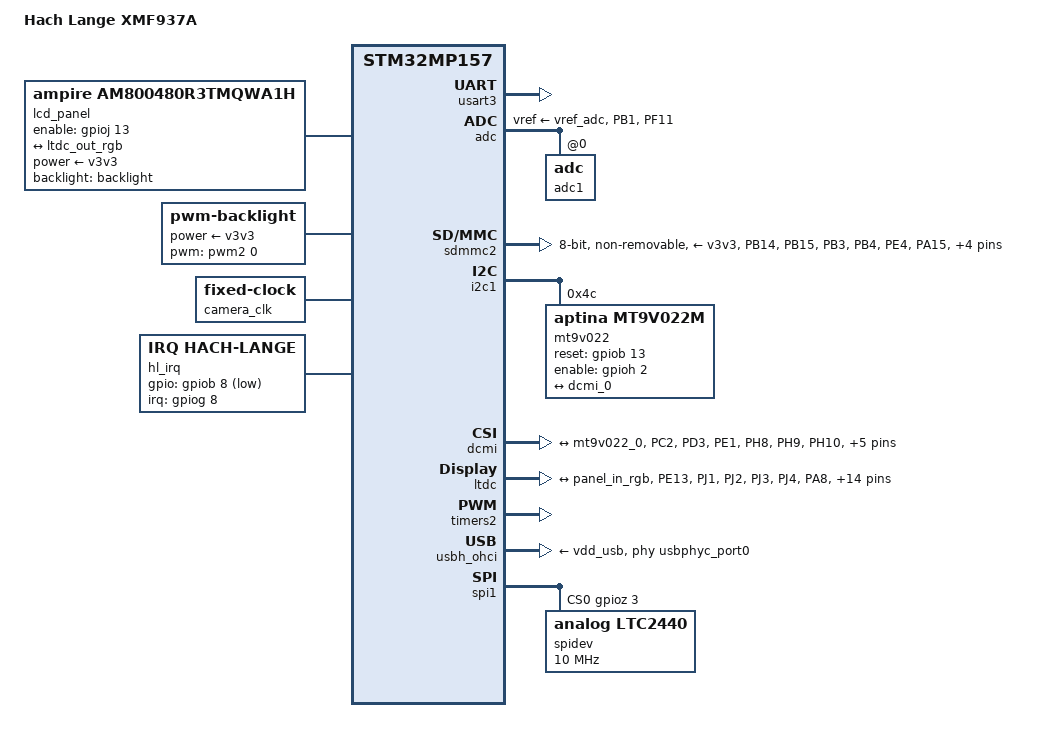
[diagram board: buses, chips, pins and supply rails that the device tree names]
// SPDX-License-Identifier: (GPL-2.0+ OR BSD-3-Clause)
/*
 * Copyright (C) emtrion GmbH 2021 - All Rights Reserved
 */

/dts-v1/;

#include "stm32mp157c-emstamp-argon.dtsi"

/ {
	model = "Hach Lange XMF937A";
	compatible = "Hach Lange,stm32mp157c-XMF937A", "st,stm32mp157";
	
	panel_rgb: panel-rgb {
		compatible = "ampire,am800480r3tmqwa1h";
		status = "okay";
		power-supply = <&v3v3>;
		label = "lcd_panel";
		backlight = <&backlight>;
		enable-gpios = <&gpioj 13 GPIO_ACTIVE_HIGH>;
		port {
			panel_in_rgb: endpoint {
				remote-endpoint = <&ltdc_out_rgb>;			
			};
		};
	};

	backlight: backlight {
		compatible = "pwm-backlight";
		pwms = <&pwm2 0 500000 0>;
		pwm-names = "backlight";
		power-supply = <&v3v3>;
		brightness-levels = <0 255>;
		num-interpolated-steps = <255>;
		default-brightness-level = <250>;

		status = "okay";
	};

	/* On-board camera clock. */
	camera_clk: camera_clk {
		compatible = "fixed-clock";
		#clock-cells = <0>;
		clock-frequency = <24000000>;
	};
	
	hl_irq:	hl_irq {
		compatible = "IRQ,Hach-Lange"; 
		gpios = <&gpiob 8 GPIO_ACTIVE_LOW>;
		interrupt-parent = <&gpiog>;
		interrupts = <8 IRQ_TYPE_EDGE_FALLING>;
		interrupt-names = "hl-irq";
		status = "okay";		
	};

};

&usart2 {
	pinctrl-names = "default", "sleep", "idle";
	pinctrl-0 = <&usart2_pins_mx>;
	pinctrl-1 = <&usart2_sleep_pins_mx>;
	pinctrl-2 = <&usart2_idle_pins_mx>;
	status = "disabled";
};

&usart3 {
	status = "okay";
};

&pinctrl {

	pwm2_pins_b: pwm2-1 {
                pins {
                        pinmux = <STM32_PINMUX('A', 5, AF1)>; /* TIM2_CH1 */
                        bias-pull-down;
                        drive-push-pull;
                        slew-rate = <0>;
                };
        };

        pwm2_sleep_pins_b: pwm2-sleep-1 {
                pins {
                        pinmux = <STM32_PINMUX('A', 5, GPIO)>; /* TIM2_CH1 */
			 output-high;
                };
        };

	
       ltdc_pins_emtrion: ltdc-c-0 {
               pins {
                       //pinmux = <STM32_PINMUX('I', 12, AF14)>, /* LCD_HSYNC */
                       //         <STM32_PINMUX('I', 13, AF14)>, /* LCD_VSYNC */
                       pinmux = <STM32_PINMUX('E', 13, AF14)>, /* LCD_DE */
                                <STM32_PINMUX('J',  1, AF14)>, /* LCD_R2 */
                                <STM32_PINMUX('J',  2, AF14)>, /* LCD_R3 */
                                <STM32_PINMUX('J',  3, AF14)>, /* LCD_R4 */
                                <STM32_PINMUX('J',  4, AF14)>, /* LCD_R5 */
                                <STM32_PINMUX('A',  8, AF14)>, /* LCD_R6 */
                                <STM32_PINMUX('J',  6, AF14)>, /* LCD_R7 */
                                <STM32_PINMUX('H', 13, AF14)>,  /* LCD_G2 */
                                <STM32_PINMUX('J', 12, AF9)>,  /* LCD_G3 */
                                <STM32_PINMUX('H', 15, AF14)>, /* LCD_G4 */
                                <STM32_PINMUX('H',  4, AF9)>,  /* LCD_G5 */
                                <STM32_PINMUX('I',  1, AF14)>, /* LCD_G6 */
                                <STM32_PINMUX('I',  2, AF14)>, /* LCD_G7 */
                                <STM32_PINMUX('J', 14, AF14)>, /* LCD_B2 */
                                <STM32_PINMUX('D', 10, AF14)>, /* LCD_B3 */
                                <STM32_PINMUX('K',  3, AF14)>, /* LCD_B4 */
                                <STM32_PINMUX('K',  4, AF14)>, /* LCD_B5 */
                                <STM32_PINMUX('K',  5, AF14)>, /* LCD_B6 */
                                <STM32_PINMUX('K',  6, AF14)>; /* LCD_B7 */
                       bias-disable;
                       drive-push-pull;
                       slew-rate = <1>;
               };
               pins2 {
                       pinmux = <STM32_PINMUX('E', 14, AF14)>; /* LTDC_CLK */
                       bias-disable;
                       drive-push-pull;
                       slew-rate = <1>;
               };

	};
	
       ltdc_pins_sleep_emtrion: ltdc-c-1 {
               pins {
                       pinmux = <STM32_PINMUX('E', 14, ANALOG)>, /* LTDC_CLK */
                                <STM32_PINMUX('I', 12, ANALOG)>, /* LCD_HSYNC */
                                <STM32_PINMUX('I', 13, ANALOG)>, /* LCD_VSYNC */
                                <STM32_PINMUX('E', 13, ANALOG)>, /* LCD_DE */
                                 <STM32_PINMUX('J',  1, ANALOG)>, /* LCD_R2 */
                                 <STM32_PINMUX('J',  2, ANALOG)>, /* LCD_R3 */
                                 <STM32_PINMUX('J',  3, ANALOG)>, /* LCD_R4 */
                                 <STM32_PINMUX('J',  4, ANALOG)>, /* LCD_R5 */
                                 <STM32_PINMUX('A',  8, ANALOG)>, /* LCD_R6 */
                                 <STM32_PINMUX('J',  6, ANALOG)>, /* LCD_R7 */
                                 <STM32_PINMUX('H', 13, ANALOG)>, /* LCD_G2 */
                                 <STM32_PINMUX('J', 12, ANALOG)>, /* LCD_G3 */
                                 <STM32_PINMUX('H', 15, ANALOG)>, /* LCD_G4 */
                                 <STM32_PINMUX('H',  4, ANALOG)>, /* LCD_G5 */
                                 <STM32_PINMUX('I',  1, ANALOG)>, /* LCD_G6 */
                                 <STM32_PINMUX('I',  2, ANALOG)>, /* LCD_G7 */
                                 <STM32_PINMUX('J', 14, ANALOG)>, /* LCD_B2 */
                                 <STM32_PINMUX('D', 10, ANALOG)>, /* LCD_B3 */
                                 <STM32_PINMUX('K',  3, ANALOG)>, /* LCD_B4 */
                                 <STM32_PINMUX('K',  4, ANALOG)>, /* LCD_B5 */
                                 <STM32_PINMUX('K',  5, ANALOG)>, /* LCD_B6 */
                                 <STM32_PINMUX('K',  6, ANALOG)>; /* LCD_B7 */
               };
       };

	dcmi_pins_mx: dcmi_mx-0 {
		pins {
			pinmux = <STM32_PINMUX('C', 2, AF13)>, /* DCMI_PIXCLK */
					 <STM32_PINMUX('D', 3, AF13)>, /* DCMI_D5 */
					 <STM32_PINMUX('E', 1, AF13)>, /* DCMI_D3 */
					 <STM32_PINMUX('H', 8, AF13)>, /* DCMI_HSYNC */
					 <STM32_PINMUX('H', 9, AF13)>, /* DCMI_D0 */
					 <STM32_PINMUX('H', 10, AF13)>, /* DCMI_D1 */
					 <STM32_PINMUX('H', 11, AF13)>, /* DCMI_D2 */
					 <STM32_PINMUX('H', 14, AF13)>, /* DCMI_D4 */
					 <STM32_PINMUX('I', 5, AF13)>, /* DCMI_VSYNC */
					 <STM32_PINMUX('I', 6, AF13)>, /* DCMI_D6 */
					 <STM32_PINMUX('I', 7, AF13)>; /* DCMI_D7 */
			bias-disable;
		};
	};

	dcmi_sleep_pins_mx: dcmi_sleep_mx-0 {
		pins {
			pinmux = <STM32_PINMUX('C', 2, ANALOG)>, /* DCMI_PIXCLK */
					 <STM32_PINMUX('D', 3, ANALOG)>, /* DCMI_D5 */
					 <STM32_PINMUX('E', 1, ANALOG)>, /* DCMI_D3 */
					 <STM32_PINMUX('H', 8, ANALOG)>, /* DCMI_HSYNC */
					 <STM32_PINMUX('H', 9, ANALOG)>, /* DCMI_D0 */
					 <STM32_PINMUX('H', 10, ANALOG)>, /* DCMI_D1 */
					 <STM32_PINMUX('H', 11, ANALOG)>, /* DCMI_D2 */
					 <STM32_PINMUX('H', 14, ANALOG)>, /* DCMI_D4 */
					 <STM32_PINMUX('I', 5, ANALOG)>, /* DCMI_VSYNC */
					 <STM32_PINMUX('I', 6, ANALOG)>, /* DCMI_D6 */
					 <STM32_PINMUX('I', 7, ANALOG)>; /* DCMI_D7 */
		};
	};

	usart2_pins_mx: usart2_mx-0 {
		pins1 {
			pinmux = <STM32_PINMUX('D', 5, AF7)>; /* USART2_TX */
			bias-disable;
			drive-push-pull;
			slew-rate = <0>;
		};
		pins2 {
			pinmux = <STM32_PINMUX('F', 4, AF7)>; /* USART2_RX */
			bias-disable;
		};
	};

	usart2_idle_pins_mx: usart2_idle_mx-0 {
		pins1 {
			pinmux = <STM32_PINMUX('D', 5, ANALOG)>; /* USART2_TX */
		};
		pins2 {
			pinmux = <STM32_PINMUX('F', 4, AF7)>; /* USART2_RX */
			bias-disable;
		};
	};

	usart2_sleep_pins_mx: usart2_sleep_mx-0 {
		pins {
			pinmux = <STM32_PINMUX('D', 5, ANALOG)>, /* USART2_TX */
					 <STM32_PINMUX('F', 4, ANALOG)>; /* USART2_RX */
		};
	};
	adc1_input_pins: adc1_in {
		pins{
			pinmux = <STM32_PINMUX('B', 1, ANALOG)>,
				 <STM32_PINMUX('F', 11, ANALOG)>;
		};
	};

	sdmmc2_b8_pins: sdmmc2-b8 {
		pins1 {
			pinmux = <STM32_PINMUX('B', 14, AF9)>, /* SDMMC2_D0 */
				 <STM32_PINMUX('B', 15, AF9)>, /* SDMMC2_D1 */
				 <STM32_PINMUX('B', 3, AF9)>, /* SDMMC2_D2 */
				 <STM32_PINMUX('B', 4, AF9)>, /* SDMMC2_D3 */
                                 <STM32_PINMUX('E', 4, AF9)>, /* SDMMC2_D4 */
                                 <STM32_PINMUX('A', 15, AF9)>, /* SDMMC2_D5 */
                                 <STM32_PINMUX('C', 6, AF10)>, /* SDMMC2_D6 */
                                 <STM32_PINMUX('C', 7, AF10)>, /* SDMMC2_D7 */
				 <STM32_PINMUX('G', 6, AF10)>; /* SDMMC2_CMD */
			slew-rate = <1>;
			drive-push-pull;
			bias-disable;
		};
		pins2 {
			pinmux = <STM32_PINMUX('E', 3, AF9)>; /* SDMMC2_CK */
			slew-rate = <2>;
			drive-push-pull;
			bias-disable;
		};
	};

	sdmmc2_b8_od_pins: sdmmc2-b8-od {
		pins1 {
			pinmux = <STM32_PINMUX('B', 14, AF9)>, /* SDMMC2_D0 */
				 <STM32_PINMUX('B', 15, AF9)>, /* SDMMC2_D1 */
				 <STM32_PINMUX('B', 3, AF9)>, /* SDMMC2_D2 */
				 <STM32_PINMUX('B', 4, AF9)>, /* SDMMC2_D3 */
                                 <STM32_PINMUX('E', 4, AF9)>, /* SDMMC2_D4 */
                                 <STM32_PINMUX('A', 15, AF9)>, /* SDMMC2_D5 */
                                 <STM32_PINMUX('C', 6, AF10)>, /* SDMMC2_D6 */
                                 <STM32_PINMUX('C', 7, AF10)>; /* SDMMC2_D7 */
			slew-rate = <1>;
			drive-push-pull;
			bias-disable;
		};
		pins2 {
			pinmux = <STM32_PINMUX('E', 3, AF9)>; /* SDMMC2_CK */
			slew-rate = <2>;
			drive-push-pull;
			bias-disable;
		};
		pins3 {
			pinmux = <STM32_PINMUX('G', 6, AF10)>; /* SDMMC2_CMD */
			slew-rate = <1>;
			drive-open-drain;
			bias-disable;
		};
	};

    sdmmc2_b8_sleep_pins: sdmmc2-b8-sleep-0 {
		pins {
			pinmux = <STM32_PINMUX('B', 14, ANALOG)>, /* SDMMC2_D0 */
				 <STM32_PINMUX('B', 15, ANALOG)>, /* SDMMC2_D1 */
				 <STM32_PINMUX('B', 3, ANALOG)>, /* SDMMC2_D2 */
				 <STM32_PINMUX('B', 4, ANALOG)>, /* SDMMC2_D3 */
                 <STM32_PINMUX('E', 4, ANALOG)>, /* SDMMC2_D4 */
                 <STM32_PINMUX('A', 15, ANALOG)>, /* SDMMC2_D5 */
                 <STM32_PINMUX('C', 6, ANALOG)>, /* SDMMC2_D6 */
                 <STM32_PINMUX('C', 7, ANALOG)>, /* SDMMC2_D7 */
				 <STM32_PINMUX('E', 3, ANALOG)>, /* SDMMC2_CK */
				 <STM32_PINMUX('G', 6, ANALOG)>; /* SDMMC2_CMD */
		};
	};
};

&adc {
	pinctrl-names = "default";
	pinctrl-0 = <&adc1_input_pins>;
	vdda-supply = <&vdda>;
	vref-supply = <&vref_adc>;
	status = "okay";
	adc1: adc@0 {
		st,adc-channels = <0>, <1>, <2>, <5>;
		st,min-sample-time-nsecs = <10000>;
		status = "okay";
	};
	adc2: adc@100 {
		status = "disabled";
	};
};

&sdmmc2 {
	arm,primecell-periphid = <0x00253180>;
	//arm,primecell-periphid = <0x10153180>;
	pinctrl-names = "default", "opendrain", "sleep";
	pinctrl-0 = <&sdmmc2_b8_pins>;
	pinctrl-1 = <&sdmmc2_b8_od_pins>;
	pinctrl-2 = <&sdmmc2_b8_sleep_pins>;
	non-removable;
	st,neg-edge;
	bus-width = <8>;
	vmmc-supply = <&v3v3>;
	#address-cells = <1>;
	#size-cells = <0>;
	keep-power-in-suspend;
	mmc-ddr-3_3v;
	status = "okay";
};

&sdmmc1 {
	status = "disabled";
};

&i2c1 {

	status = "okay";

	mt9v022@4c {
		compatible = "aptina,mt9v022m";
		reg = <0x4c>;
		reset-gpios = <&gpiob 13 GPIO_ACTIVE_HIGH>;
		enable-gpios = <&gpioh 2 GPIO_ACTIVE_HIGH>;
		clocks = <&camera_clk>;
		status = "okay";

		port {
			mt9v022_0: endpoint {
				remote-endpoint = <&dcmi_0>;
				bus-width = <8>;
                       	bus-type = <5>;
                       	hsync-active = <0>;
                       	vsync-active = <0>;
                       	pclk-sample = <0>;
			};
		};
	};
};

&dcmi {
	status = "okay";
	pinctrl-names = "default", "sleep";
	pinctrl-0 = <&dcmi_pins_mx>;
	pinctrl-1 = <&dcmi_sleep_pins_mx>;

	port {
		dcmi_0: endpoint {
			remote-endpoint = <&mt9v022_0>;
			bus-type = <5>;
			bus-width = <8>;
       		hsync-active = <0>;
       		vsync-active = <0>;
       		pclk-sample = <1>;
		};
	};
};


&dsi {
	status = "disabled";
};

&ltdc {
	pinctrl-names = "default", "sleep";
	pinctrl-0 = <&ltdc_pins_emtrion>;
	pinctrl-1 = <&ltdc_pins_sleep_emtrion>;
	status = "okay";

	port {
		#address-cells = <1>;
		#size-cells = <0>;

		ltdc_out_rgb: endpoint@0 {
			reg = <0>;
			remote-endpoint = <&panel_in_rgb>;
		};
	};
};

&timers2 {
	/delete-property/dmas;
	/delete-property/dma-names;
	status = "okay";
	pwm2: pwm {
		pinctrl-0 = <&pwm2_pins_b>;
		pinctrl-1 = <&pwm2_sleep_pins_b>;
		pinctrl-names = "default", "sleep";
		status = "okay";
	};
};

&rtc {
//	st,lsco = <RTC_OUT2_RMP>;
//	pinctrl-0 = <&rtc_out2_rmp_pins_a>;
//	pinctrl-names = "default";
};

/* enable for usb 1.1 low speed */
&usbh_ohci {
	phys = <&usbphyc_port0>;
	vbus-supply = <&vdd_usb>;
	phy-names = "usb";
	status = "okay";
};

&spi1 {
        pinctrl-names = "default", "sleep";
        pinctrl-0 = <&spi1_pins_a>;
        pinctrl-1 = <&spi1_sleep_pins_a>;
        cs-gpios = <&gpioz 3 0>;
        status = "okay";
        spidev@0  {
               compatible = "analog,ltc2440";
               reg = <0>;
               spi-max-frequency = <10000000>;
	       status = "okay";
        };
};
